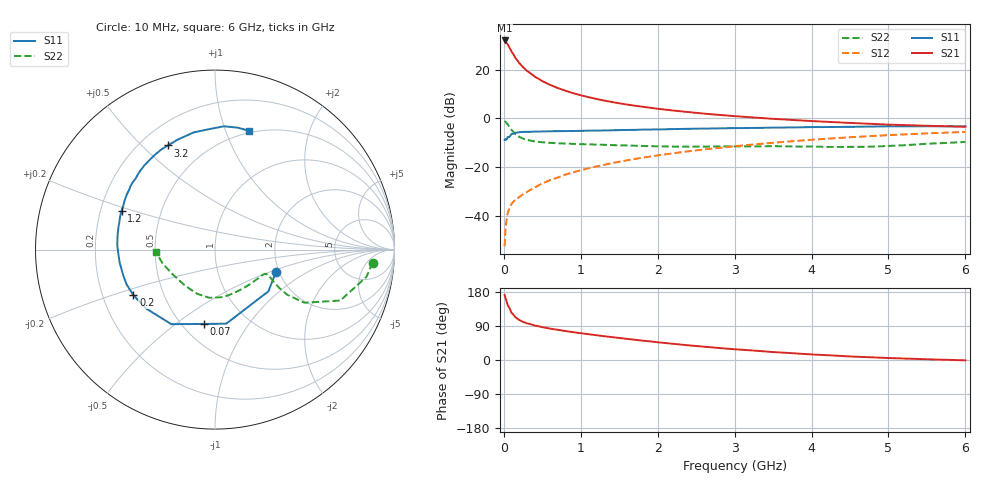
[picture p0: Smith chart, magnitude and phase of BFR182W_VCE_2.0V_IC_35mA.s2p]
! Infineon Technologies  Discrete & RF Semiconductors
! BFR182W
! VCE =  2.0 V,  IC =  35 mA
! Common Emitter S-Parameters:  Jan 2017
# GHz  S  MA  R  50
!  f  S11  S21  S12  S22
! GHz  MAG  ANG  MAG  ANG  MAG  ANG  MAG  ANG
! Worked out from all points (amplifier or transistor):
!   77 points, 10 MHz to 6 GHz, reference 50 ohm
!   highest |S21| = 32.0 dB at 10 MHz (marker M1)
!   |S21| within 3 dB of that: start of sweep to 74.04 MHz
!   unconditionally stable (mu >= 1): start of sweep to 10.72 MHz; 286.8 MHz to 2.78 GHz
!   at 130 MHz: K = 0.66, MSG = 30.0 dB, |S12| = -34.0 dB
!   at 2.2 GHz: K = 1.06, MAG = 7.3 dB, |S12| = -14.3 dB
!   at 6 GHz: K = 0.98, MSG = 1.1 dB, |S12| = -5.5 dB
!   S11 on the Smith chart (normalised r, x): 10 MHz: 1.93, -0.54; 70 MHz: 0.64, -0.64; 200 MHz: 0.33, -0.23; 1.2 GHz: 0.29, +0.18; 3.2 GHz: 0.31, +0.60; 6 GHz: 0.48, +1.21
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0.01  0.3618 -19.8  39.68 172.0  0.0024 74.6  0.8805 -4.7
0.02  0.3777 -38.0  39.12 164.6  0.005 78.4  0.8579 -10.1
0.05  0.4175 -81.4  33.09 144.8  0.0114 64.1  0.7537 -22.1
0.07  0.4183 -98.2  28.89 138.2  0.0139 61.5  0.6825 -25.0
0.1  0.4815 -120.3  23.6 124.3  0.0176 58.9  0.5799 -30.7
0.15  0.5058 -139.7  17.48 112.9  0.0216 56.8  0.4758 -32.0
0.2  0.5207 -150.9  13.68 105.7  0.0244 59.0  0.4194 -30.9
0.25  0.5295 -158.6  11.22 100.5  0.0279 60.7  0.3852 -29.4
0.3  0.531 -164.2  9.453 96.8  0.0309 62.8  0.3623 -28.0
0.4  0.536 -172.1  7.22 91.0  0.0381 65.7  0.3381 -26.2
0.5  0.5397 -178.1  5.818 86.7  0.0463 67.9  0.3243 -25.5
0.7  0.5471 173.4  4.206 79.7  0.0613 71.6  0.3096 -25.9
0.9  0.5524 166.4  3.294 73.5  0.078 72.2  0.3008 -27.9
1.1  0.5606 160.5  2.728 68.1  0.095 72.8  0.2941 -30.9
1.2  0.563 157.7  2.513 65.4  0.1031 72.5  0.2905 -32.5
1.6  0.5799 147.7  1.927 55.7  0.1381 71.3  0.2785 -41.0
2.1  0.5986 136.2  1.515 44.8  0.1835 68.4  0.266 -54.9
3.1  0.6346 116.2  1.085 27.0  0.2782 59.7  0.2668 -85.5
3.2  0.6368 114.3  1.058 25.6  0.2877 58.6  0.2667 -88.3
4.1  0.6644 98.7  0.867 13.7  0.3739 49.1  0.2627 -115.3
5.1  0.6885 84.6  0.738 4.6  0.4616 37.4  0.2767 -152.7
6  0.6884 73.9  0.674 -0.9  0.5285 26.8  0.3293 -177.7
